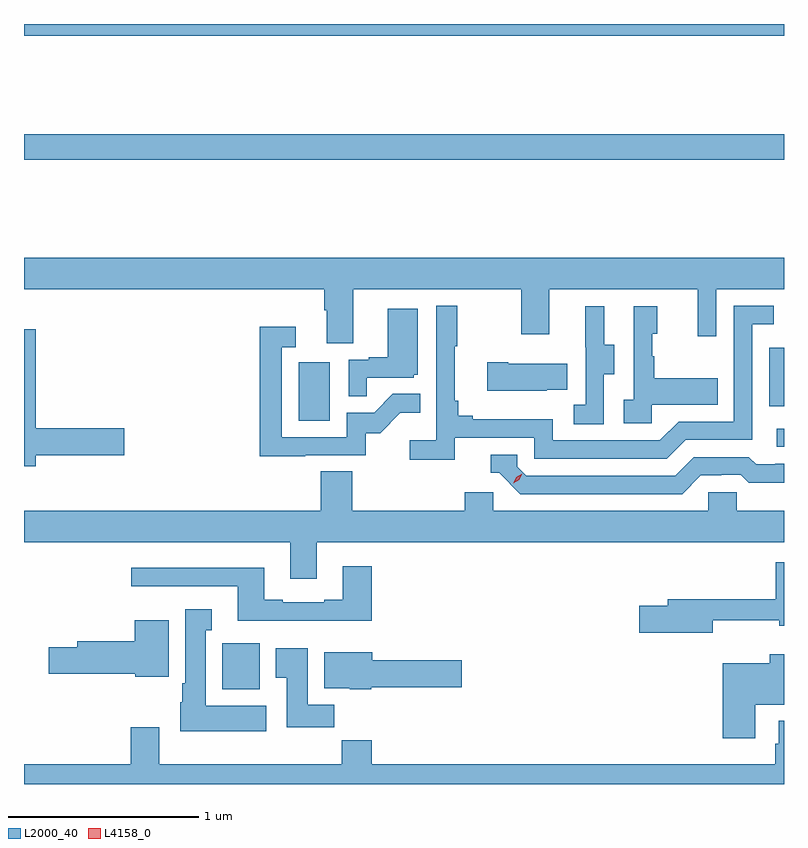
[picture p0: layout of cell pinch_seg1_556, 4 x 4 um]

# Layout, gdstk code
import gdstk
lib = gdstk.Library(unit=1e-6, precision=1e-09)
def R(c, l, rs):  # rectangles x0, y0, x1, y1
    for r in rs: c.add(gdstk.rectangle(r[:2], r[2:], *l))
def P(c, l, *ps):  # polygons
    for p in ps: c.add(gdstk.Polygon(p, *l))
L2000_40 = (2000, 40)
L4158_0 = (4158, 0)

pinch_seg1_556 = lib.new_cell('pinch_seg1_556')
R(pinch_seg1_556, L2000_40, [(1035.824,518.99,1036.021,519.232), (1038.741,520.266,1038.78,520.362), (1036.226,520.404,1036.39,520.711), (1038.702,520.479,1038.78,520.788), (1034.78,521.776,1038.78,521.912), (1034.78,522.428,1038.78,522.491)])
P(pinch_seg1_556, L2000_40, [(1036.513,521.096),(1037.398,521.096),(1037.398,520.857),(1037.545,520.857),(1037.545,521.096),(1038.326,521.096),(1038.326,520.847),(1038.423,520.847),(1038.423,521.096),(1038.78,521.096),(1038.78,521.26),(1034.78,521.26),(1034.78,521.096),(1036.361,521.096),(1036.361,520.984),(1036.373,520.984),(1036.373,520.81),(1036.513,520.81)],
  [(1037.048,520.314),(1037.466,520.314),(1037.466,520.203),(1038.163,520.203),(1038.262,520.302),(1038.612,520.302),(1038.612,520.911),(1038.725,520.911),(1038.725,521.007),(1038.516,521.007),(1038.516,520.398),(1038.225,520.398),(1038.126,520.299),(1037.562,520.299),(1037.562,520.411),(1037.143,520.411),(1037.143,520.43),(1037.066,520.43),(1037.066,520.507),(1037.047,520.507),(1037.047,520.795),(1037.059,520.795),(1037.059,521.008),(1036.95,521.008),(1036.95,520.3),(1036.809,520.3),(1036.809,520.198),(1037.048,520.198)],
  [(1037.832,520.648),(1037.887,520.648),(1037.887,520.803),(1037.833,520.803),(1037.833,521.005),(1037.735,521.005),(1037.735,520.791),(1037.736,520.791),(1037.736,520.487),(1037.673,520.487),(1037.673,520.384),(1037.832,520.384)],
  [(1038.084,520.487),(1038.431,520.487),(1038.431,520.627),(1038.097,520.627),(1038.097,520.742),(1038.087,520.742),(1038.087,520.86),(1038.112,520.86),(1038.112,521.005),(1037.988,521.005),(1037.988,520.514),(1037.937,520.514),(1037.937,520.389),(1038.084,520.389)],
  [(1036.583,520.629),(1036.83,520.629),(1036.83,520.644),(1036.852,520.644),(1036.852,520.993),(1036.694,520.993),(1036.694,520.738),(1036.595,520.738),(1036.595,520.725),(1036.488,520.725),(1036.488,520.531),(1036.583,520.531)],
  [(1036.259,520.221),(1036.578,520.221),(1036.578,520.338),(1036.654,520.338),(1036.761,520.445),(1036.865,520.445),(1036.865,520.544),(1036.721,520.544),(1036.623,520.446),(1036.479,520.446),(1036.479,520.317),(1036.137,520.317),(1036.137,520.791),(1036.21,520.791),(1036.21,520.897),(1036.021,520.897),(1036.021,520.216),(1036.259,520.216)],
  [(1034.842,520.222),(1035.307,520.222),(1035.307,520.364),(1034.842,520.364),(1034.842,520.885),(1034.78,520.885),(1034.78,520.164),(1034.842,520.164)],
  [(1037.531,520.565),(1037.639,520.565),(1037.639,520.702),(1037.329,520.702),(1037.329,520.71),(1037.217,520.71),(1037.217,520.562),(1037.531,520.562)],
  [(1038.343,520.116),(1038.45,520.116),(1038.45,520.119),(1038.553,520.119),(1038.595,520.077),(1038.78,520.077),(1038.78,520.176),(1038.733,520.176),(1038.733,520.173),(1038.634,520.173),(1038.595,520.212),(1038.306,520.212),(1038.207,520.113),(1037.424,520.113),(1037.376,520.161),(1037.376,520.224),(1037.237,520.224),(1037.237,520.128),(1037.28,520.128),(1037.391,520.017),(1038.244,520.017)],
  [(1036.321,519.764),(1038.78,519.764),(1038.78,519.928),(1038.531,519.928),(1038.531,520.026),(1038.381,520.026),(1038.381,519.928),(1037.25,519.928),(1037.25,520.026),(1037.099,520.026),(1037.099,519.928),(1036.507,519.928),(1036.507,520.136),(1036.343,520.136),(1036.343,519.928),(1034.78,519.928),(1034.78,519.764),(1036.181,519.764),(1036.181,519.57),(1036.321,519.57)],
  [(1038.406,519.352),(1038.755,519.352),(1038.755,519.323),(1038.78,519.323),(1038.78,519.658),(1038.736,519.658),(1038.736,519.463),(1038.167,519.463),(1038.167,519.429),(1038.018,519.429),(1038.018,519.287),(1038.406,519.287)],
  [(1036.61,519.637),(1036.457,519.637),(1036.457,519.46),(1036.361,519.46),(1036.361,519.447),(1036.141,519.447),(1036.141,519.46),(1036.045,519.46),(1036.045,519.628),(1035.345,519.628),(1035.345,519.531),(1035.905,519.531),(1035.905,519.35),(1036.61,519.35)],
  [(1036.054,518.902),(1035.736,518.902),(1035.736,519.299),(1035.769,519.299),(1035.769,519.412),(1035.629,519.412),(1035.629,519.022),(1035.614,519.022),(1035.614,518.922),(1035.602,518.922),(1035.602,518.768),(1036.054,518.768)],
  [(1035.541,519.352),(1035.362,519.352),(1035.362,519.242),(1035.059,519.242),(1035.059,519.212),(1034.91,519.212),(1034.91,519.07),(1035.366,519.07),(1035.366,519.056),(1035.541,519.056)],
  [(1036.412,518.908),(1036.273,518.908),(1036.273,519.205),(1036.106,519.205),(1036.106,519.049),(1036.163,519.049),(1036.163,518.79),(1036.412,518.79)],
  [(1036.608,519.001),(1037.083,519.001),(1037.083,519.143),(1036.612,519.143),(1036.612,519.184),(1036.361,519.184),(1036.361,518.996),(1036.494,518.996),(1036.494,518.99),(1036.608,518.99)],
  [(1038.628,518.909),(1038.78,518.909),(1038.78,519.175),(1038.704,519.175),(1038.704,519.127),(1038.458,519.127),(1038.458,518.733),(1038.628,518.733)],
  [(1038.78,518.824),(1038.753,518.824),(1038.753,518.703),(1038.733,518.703),(1038.733,518.596),(1036.61,518.596),(1036.61,518.72),(1036.453,518.72),(1036.453,518.596),(1035.493,518.596),(1035.493,518.791),(1035.341,518.791),(1035.341,518.596),(1034.78,518.596),(1034.78,518.491),(1038.78,518.491)])
P(pinch_seg1_556, L4158_0, [(1037.355,520.073),(1037.355,520.073),(1037.371,520.106),(1037.402,520.125),(1037.402,520.125),(1037.402,520.125),(1037.386,520.092),(1037.355,520.073)])

lib.write_gds('pinch_seg1_556.gds')
